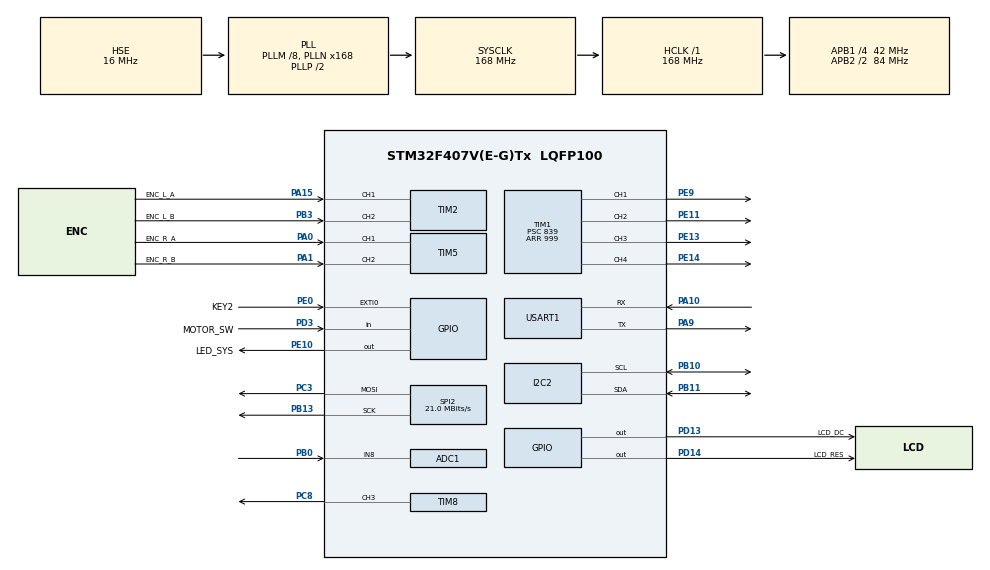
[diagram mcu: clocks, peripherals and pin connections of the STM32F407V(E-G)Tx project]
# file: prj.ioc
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ADC1.Channel-0\#ChannelRegularConversion=ADC_CHANNEL_8
ADC1.Channel-1\#ChannelRegularConversion=ADC_CHANNEL_VREFINT
ADC1.Channel-2\#ChannelRegularConversion=ADC_CHANNEL_TEMPSENSOR
ADC1.ContinuousConvMode=ENABLE
ADC1.DMAContinuousRequests=ENABLE
ADC1.NbrOfConversion=3
ADC1.NbrOfConversionFlag=1
ADC1.Rank-0\#ChannelRegularConversion=1
ADC1.Rank-1\#ChannelRegularConversion=2
ADC1.Rank-2\#ChannelRegularConversion=3
ADC1.SamplingTime-0\#ChannelRegularConversion=ADC_SAMPLETIME_480CYCLES
ADC1.SamplingTime-1\#ChannelRegularConversion=ADC_SAMPLETIME_480CYCLES
ADC1.SamplingTime-2\#ChannelRegularConversion=ADC_SAMPLETIME_480CYCLES
ADC1.ScanConvMode=ENABLE
ADC1.master=1
Dma.ADC1.0.Direction=DMA_PERIPH_TO_MEMORY
Dma.ADC1.0.FIFOMode=DMA_FIFOMODE_DISABLE
Dma.ADC1.0.Instance=DMA2_Stream0
Dma.ADC1.0.MemDataAlignment=DMA_MDATAALIGN_HALFWORD
Dma.ADC1.0.MemInc=DMA_MINC_ENABLE
Dma.ADC1.0.Mode=DMA_CIRCULAR
Dma.ADC1.0.PeriphDataAlignment=DMA_PDATAALIGN_HALFWORD
Dma.ADC1.0.PeriphInc=DMA_PINC_DISABLE
Dma.ADC1.0.Priority=DMA_PRIORITY_LOW
Dma.Request0=ADC1
I2C2.I2C_Mode=I2C_Fast
Mcu.Family=STM32F4
Mcu.Name=STM32F407V(E-G)Tx
Mcu.Package=LQFP100
NVIC.DMA2_Stream0_IRQn=true\:0\:0\:false\:false\:true\:false\:true\:true
NVIC.EXTI0_IRQn=true\:5\:0\:true\:false\:true\:true\:true\:true
NVIC.PriorityGroup=NVIC_PRIORITYGROUP_4
NVIC.SPI2_IRQn=true\:0\:0\:true\:false\:true\:true\:true\:true
NVIC.TIM7_IRQn=true\:5\:0\:true\:false\:true\:true\:true\:true
PA0-WKUP.GPIO_Label=ENC_R_A
PA0-WKUP.GPIO_PuPd=GPIO_PULLUP
PA0-WKUP.GPIO_Speed=GPIO_SPEED_FREQ_HIGH
PA0-WKUP.Signal=S_TIM5_CH1
PA1.GPIO_Label=ENC_R_B
PA1.GPIO_PuPd=GPIO_PULLUP
PA1.GPIO_Speed=GPIO_SPEED_FREQ_HIGH
PA1.Signal=S_TIM5_CH2
PA10.Mode=Asynchronous
PA10.Signal=USART1_RX
PA13.Mode=Serial_Wire
PA13.Signal=SYS_JTMS-SWDIO
PA14.Mode=Serial_Wire
PA14.Signal=SYS_JTCK-SWCLK
PA15.GPIO_Label=ENC_L_A 
PA15.GPIO_PuPd=GPIO_PULLUP
PA15.GPIO_Speed=GPIO_SPEED_FREQ_HIGH
PA15.Signal=S_TIM2_CH1_ETR
PA9.Mode=Asynchronous
PA9.Signal=USART1_TX
PB0.Signal=ADCx_IN8
PB10.GPIO_Pu=GPIO_PULLUP
PB10.Mode=I2C
PB10.Signal=I2C2_SCL
PB11.GPIO_Pu=GPIO_PULLUP
PB11.Mode=I2C
PB11.Signal=I2C2_SDA
PB13.Mode=TX_Only_Simplex_Unidirect_Master
PB13.Signal=SPI2_SCK
PB3.GPIO_Label=ENC_L_B
PB3.GPIO_PuPd=GPIO_PULLUP
PB3.GPIO_Speed=GPIO_SPEED_FREQ_HIGH
PB3.Signal=S_TIM2_CH2
PC3.Mode=TX_Only_Simplex_Unidirect_Master
PC3.Signal=SPI2_MOSI
PC8.Signal=S_TIM8_CH3
PD13.GPIO_Label=LCD_DC     
PD13.GPIO_Speed=GPIO_SPEED_FREQ_HIGH
PD13.Signal=GPIO_Output
PD14.GPIO_Label=LCD_RES
PD14.GPIO_Speed=GPIO_SPEED_FREQ_HIGH
PD14.Signal=GPIO_Output
PD3.GPIO_Label=MOTOR_SW
PD3.GPIO_PuPd=GPIO_PULLUP
PD3.Signal=GPIO_Input
PE0.GPIO_Label=KEY2
PE0.GPIO_ModeDefaultEXTI=GPIO_MODE_IT_FALLING
PE0.GPIO_PuPd=GPIO_PULLUP
PE0.Signal=GPXTI0
PE10.GPIO_Label=LED_SYS
PE10.GPIO_PuPd=GPIO_PULLUP
PE10.PinState=GPIO_PIN_SET
PE10.Signal=GPIO_Output
PE11.Signal=S_TIM1_CH2
PE13.Signal=S_TIM1_CH3
PE14.Signal=S_TIM1_CH4
PE9.Signal=S_TIM1_CH1
PH0-OSC_IN.Mode=HSE-External-Oscillator
PH0-OSC_IN.Signal=RCC_OSC_IN
PH1-OSC_OUT.Mode=HSE-External-Oscillator
PH1-OSC_OUT.Signal=RCC_OSC_OUT
ProjectManager.HeapSize=0x200
ProjectManager.StackSize=0x400
ProjectManager.TargetToolchain=CMake
RCC.48MHZClocksFreq_Value=84000000
RCC.AHBFreq_Value=168000000
RCC.APB1CLKDivider=RCC_HCLK_DIV4
RCC.APB1Freq_Value=42000000
RCC.APB1TimFreq_Value=84000000
RCC.APB2CLKDivider=RCC_HCLK_DIV2
RCC.APB2Freq_Value=84000000
RCC.APB2TimFreq_Value=168000000
RCC.CortexFreq_Value=168000000
RCC.HCLKFreq_Value=168000000
RCC.HSE_VALUE=16000000
RCC.HSI_VALUE=16000000
RCC.LSE_VALUE=32768
RCC.PLLM=8
RCC.PLLN=168
RCC.PLLSourceVirtual=RCC_PLLSOURCE_HSE
RCC.SYSCLKFreq_VALUE=168000000
RCC.SYSCLKSource=RCC_SYSCLKSOURCE_PLLCLK
RCC.VCOOutputFreq_Value=336000000
SH.ADCx_IN8.0=ADC1_IN8,IN8
SH.S_TIM1_CH1.0=TIM1_CH1,PWM Generation1 CH1
SH.S_TIM1_CH2.0=TIM1_CH2,PWM Generation2 CH2
SH.S_TIM1_CH3.0=TIM1_CH3,PWM Generation3 CH3
SH.S_TIM1_CH4.0=TIM1_CH4,PWM Generation4 CH4
SH.S_TIM2_CH1_ETR.0=TIM2_CH1,Encoder_Interface
SH.S_TIM2_CH2.0=TIM2_CH2,Encoder_Interface
SH.S_TIM5_CH1.0=TIM5_CH1,Encoder_Interface
SH.S_TIM5_CH2.0=TIM5_CH2,Encoder_Interface
SH.S_TIM8_CH3.0=TIM8_CH3,PWM Generation3 CH3
SPI2.CalculateBaudRate=21.0 MBits/s
SPI2.Direction=SPI_DIRECTION_2LINES
SPI2.Mode=SPI_MODE_MASTER
SPI2.VirtualType=VM_MASTER
TIM1.AutoReloadPreload=TIM_AUTORELOAD_PRELOAD_ENABLE
TIM1.Channel-PWM\ Generation1\ CH1=TIM_CHANNEL_1
TIM1.Channel-PWM\ Generation2\ CH2=TIM_CHANNEL_2
TIM1.Channel-PWM\ Generation3\ CH3=TIM_CHANNEL_3
TIM1.Channel-PWM\ Generation4\ CH4=TIM_CHANNEL_4
TIM1.Period=999
TIM1.Prescaler=839
TIM2.EncoderMode=TIM_ENCODERMODE_TI12
TIM5.AutoReloadPreload=TIM_AUTORELOAD_PRELOAD_ENABLE
TIM5.EncoderMode=TIM_ENCODERMODE_TI12
TIM7.AutoReloadPreload=TIM_AUTORELOAD_PRELOAD_ENABLE
TIM7.Period=9999
TIM7.Prescaler=83
TIM8.AutoReloadPreload=TIM_AUTORELOAD_PRELOAD_ENABLE
TIM8.Channel-PWM\ Generation3\ CH3=TIM_CHANNEL_3
TIM8.Period=19999
TIM8.Prescaler=167
TIM8.Pulse-PWM\ Generation3\ CH3=1500
USART1.VirtualMode=VM_ASYNC
VP_ADC1_TempSens_Input.Mode=IN-TempSens
VP_ADC1_Vref_Input.Mode=IN-Vrefint
VP_TIM1_VS_ClockSourceINT.Mode=Internal
VP_TIM7_VS_ClockSourceINT.Mode=Enable_Timer
VP_TIM8_VS_ClockSourceINT.Mode=Internal
board=custom

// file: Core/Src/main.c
/* USER CODE BEGIN Header */
/**
  ******************************************************************************
  * @file           : main.c
  * @brief          : Main program body
  ******************************************************************************
  * @attention
  *
  * Copyright (c) 2026 STMicroelectronics.
  * All rights reserved.
  *
  * This software is licensed under terms that can be found in the LICENSE file
  * in the root directory of this software component.
  * If no LICENSE file comes with this software, it is provided AS-IS.
  *
  ******************************************************************************
  */
/* USER CODE END Header */
#include "main.h"

/* USER CODE BEGIN Includes */
#include <stdio.h>
#include "gpio.h"
#include "key.h"
#include "servo.h"
#include "motor.h"
#include "encoder.h"
#include "speed_loop.h"
#include "voltage.h"
#include "imu.h"
#include "oled.h"
/* USER CODE END Includes */

ADC_HandleTypeDef hadc1;
DMA_HandleTypeDef hdma_adc1;

I2C_HandleTypeDef hi2c2;

SPI_HandleTypeDef hspi2;

TIM_HandleTypeDef htim1;
TIM_HandleTypeDef htim2;
TIM_HandleTypeDef htim5;
TIM_HandleTypeDef htim7;
TIM_HandleTypeDef htim8;

UART_HandleTypeDef huart1;

void SystemClock_Config(void);
static void MX_GPIO_Init(void);
static void MX_DMA_Init(void);
static void MX_USART1_UART_Init(void);
static void MX_TIM8_Init(void);
static void MX_TIM1_Init(void);
static void MX_TIM2_Init(void);
static void MX_TIM5_Init(void);
static void MX_TIM7_Init(void);
static void MX_ADC1_Init(void);
static void MX_I2C2_Init(void);
static void MX_SPI2_Init(void);

/* USER CODE BEGIN 0 */
/* printf 重定向到 USART1（115200，PA9/PA10）。
 * GCC/newlib 走 __io_putchar；syscalls.c 的 _write() 会逐字节调用它。
 * 注意：不要放在中断里调用，HAL_UART_Transmit 是阻塞发送。 */
#ifdef __GNUC__
int __io_putchar(int ch)
#else
int fputc(int ch, FILE *f)
#endif
{
  uint8_t c = (uint8_t)ch;
  HAL_UART_Transmit(&huart1, &c, 1, 10);
  return ch;
}
/* USER CODE END 0 */

int main(void)
{

  /* MCU Configuration--------------------------------------------------------*/

  /* Reset of all peripherals, Initializes the Flash interface and the Systick. */
  HAL_Init();

  /* Configure the system clock */
  SystemClock_Config();

  /* Initialize all configured peripherals */
  MX_GPIO_Init();
  MX_DMA_Init();
  MX_USART1_UART_Init();
  MX_TIM8_Init();
  MX_TIM1_Init();
  MX_TIM2_Init();
  MX_TIM5_Init();
  MX_TIM7_Init();
  MX_ADC1_Init();
  MX_I2C2_Init();
  MX_SPI2_Init();
  /* USER CODE BEGIN 2 */
  Key_Init();
  Servo_Init();                     /* TIM8_CH3 / PC8，上电回中位 1500 µs */
  Motor_Init();                     /* TIM1 CH1~CH4，上电确保电机停转 */
  Encoder_Init();                   /* TIM2/TIM5 编码器接口，清零计数 */
  SpeedLoop_Init();                 /* 双轮 PID + 启动 TIM7 10 ms 中断 */
  Voltage_Init();                   /* ADC1 三通道：PB0 / VREFINT / 温度，启动 DMA */
  OLED_Init();                      /* U8g2 / SSD1306 128x64，SPI2（8 孔 DISPLAY 座）*/

  /* QMI8658：上电保持静止约 0.6 s 做陀螺零偏 */
  uint8_t imu_ok = IMU_Init();
  if (imu_ok == 0) {
      IMU_CalibrateGyro(1000);      /* 约 2 s，带静止检测 */
  }

  printf("\r\n=== TARS-Robot MCU boot ===\r\n");
  printf("SYSCLK = %lu Hz\r\n", (unsigned long)SystemCoreClock);
  printf("printf redirect to USART1 @115200 OK\r\n");
  printf("KEY1: click / long press\r\n");
  printf("servo init: %u us (50 Hz, 1 us/count)\r\n", Servo_GetPulseUs());
  printf("motor init: L=%d R=%d\r\n",
         Motor_GetPulse(MOTOR_LEFT), Motor_GetPulse(MOTOR_RIGHT));
  printf("motor switch = %u (PD3, active level %d)\r\n",
         Motor_IsSwitchOn(), (int)MOTOR_SW_ON_LEVEL);
  printf("encoder init: L raw=%lu R raw=%lu\r\n",
         (unsigned long)Encoder_GetRaw(ENC_LEFT),
         (unsigned long)Encoder_GetRaw(ENC_RIGHT));
  printf("IMU: %s (ID=0x%02X)\r\n",
         (imu_ok == 0) ? "OK" :
         (imu_ok == 1) ? "NOT FOUND" :
         (imu_ok == 2) ? "WHO_AM_I BAD" : "CTRL WRITE FAIL",
         IMU_GetWhoAmI());
  /* USER CODE END 2 */

  /* Infinite loop */
  while (1)
  {

    /* USER CODE BEGIN 3 */
    uint32_t now = HAL_GetTick();

    /* 按键：单击切换“停/前进”，长按急停 */
    static uint32_t t_key = 0;
    static float    target_mps = 0.0f;
    if (now - t_key >= 10U) {
        t_key = now;
        Key_Task();

        switch (Key_GetEvent()) {
        case KEY_EVENT_CLICK:
            target_mps = (target_mps > 0.0f) ? 0.0f : 0.15f;
            SpeedLoop_SetTargetMps(target_mps, target_mps);
            printf("target = %.2f m/s\r\n", target_mps);
            break;

        case KEY_EVENT_LONG_PRESS:
            target_mps = 0.0f;
            SpeedLoop_Stop();
            printf("EMERGENCY STOP\r\n");
            break;

        default:
            break;
        }
    }

    /* IMU：10 ms 更新一次（Fusion AHRS，I2C2） */
    static uint32_t t_imu = 0;
    if (now - t_imu >= 10U) {
        t_imu = now;
        IMU_Update(0.01f);
    }

    /* 电压：100 ms 采样一次；严重低压立即停车 */
    static uint32_t t_vbat = 0;
    if (now - t_vbat >= 100U) {
        t_vbat = now;
        Voltage_Task();
        if (Voltage_IsCritical()) {
            SpeedLoop_Stop();
        }
    }

    /* 心跳：本地演示保活。
     * SpeedLoop 有“300 ms 无心跳自动停车”保护，本地没有上位机，
     * 所以这里每 100 ms 喂一次。第 9 章接协议后改由协议层喂。 */
    static uint32_t t_hb = 0;
    if (now - t_hb >= 100U) {
        t_hb = now;
        SpeedLoop_Heartbeat();
    }

    /* 500 ms 打印实际速度。
     * 注意：这里绝不能调用 Encoder_ReadDelta —— 它会把 TIM7 中断里的
     * 增量“偷走”，导致速度环反馈丢失。要用 SpeedLoop 保存好的值。 */
    static uint32_t t_log = 0;
    if (now - t_log >= 500U) {
        t_log = now;
        float vl = 0.0f, vr = 0.0f;
        SpeedLoop_GetActualMps(&vl, &vr);
        float ax, ay, az;
        IMU_GetAcc(&ax, &ay, &az);
        printf("IMU a=%.2f/%.2f/%.2f r=%6.1f p=%6.1f y=%6.1f | BAT %.2fV err=%lu\r\n",
               ax, ay, az,
               IMU_GetRoll(), IMU_GetPitch(), IMU_GetYaw(),
               Voltage_Get(), (unsigned long)IMU_GetErrorCount());
    }

    /* OLED 仪表盘：200 ms 刷新，不进 10 ms 控制环 */
    static uint32_t t_oled = 0;
    if (now - t_oled >= 200U) {
        t_oled = now;
        OLED_Dashboard();
    }
  }
  /* USER CODE END 3 */
}

void SystemClock_Config(void)
{
  RCC_OscInitTypeDef RCC_OscInitStruct = {0};
  RCC_ClkInitTypeDef RCC_ClkInitStruct = {0};

  /** Configure the main internal regulator output voltage
  */
  __HAL_RCC_PWR_CLK_ENABLE();
  __HAL_PWR_VOLTAGESCALING_CONFIG(PWR_REGULATOR_VOLTAGE_SCALE1);

  /** Initializes the RCC Oscillators according to the specified parameters
  * in the RCC_OscInitTypeDef structure.
  */
  RCC_OscInitStruct.OscillatorType = RCC_OSCILLATORTYPE_HSE;
  RCC_OscInitStruct.HSEState = RCC_HSE_ON;
  RCC_OscInitStruct.PLL.PLLState = RCC_PLL_ON;
  RCC_OscInitStruct.PLL.PLLSource = RCC_PLLSOURCE_HSE;
  RCC_OscInitStruct.PLL.PLLM = 8;
  RCC_OscInitStruct.PLL.PLLN = 168;
  RCC_OscInitStruct.PLL.PLLP = RCC_PLLP_DIV2;
  RCC_OscInitStruct.PLL.PLLQ = 4;
  if (HAL_RCC_OscConfig(&RCC_OscInitStruct) != HAL_OK)
  {
    Error_Handler();
  }

  /** Initializes the CPU, AHB and APB buses clocks
  */
  RCC_ClkInitStruct.ClockType = RCC_CLOCKTYPE_HCLK|RCC_CLOCKTYPE_SYSCLK
                              |RCC_CLOCKTYPE_PCLK1|RCC_CLOCKTYPE_PCLK2;
  RCC_ClkInitStruct.SYSCLKSource = RCC_SYSCLKSOURCE_PLLCLK;
  RCC_ClkInitStruct.AHBCLKDivider = RCC_SYSCLK_DIV1;
  RCC_ClkInitStruct.APB1CLKDivider = RCC_HCLK_DIV4;
  RCC_ClkInitStruct.APB2CLKDivider = RCC_HCLK_DIV2;

  if (HAL_RCC_ClockConfig(&RCC_ClkInitStruct, FLASH_LATENCY_5) != HAL_OK)
  {
    Error_Handler();
  }
}

static void MX_ADC1_Init(void)
{

  ADC_ChannelConfTypeDef sConfig = {0};

  /** Configure the global features of the ADC (Clock, Resolution, Data Alignment and number of conversion)
  */
  hadc1.Instance = ADC1;
  hadc1.Init.ClockPrescaler = ADC_CLOCK_SYNC_PCLK_DIV4;
  hadc1.Init.Resolution = ADC_RESOLUTION_12B;
  hadc1.Init.ScanConvMode = ENABLE;
  hadc1.Init.ContinuousConvMode = ENABLE;
  hadc1.Init.DiscontinuousConvMode = DISABLE;
  hadc1.Init.ExternalTrigConvEdge = ADC_EXTERNALTRIGCONVEDGE_NONE;
  hadc1.Init.ExternalTrigConv = ADC_SOFTWARE_START;
  hadc1.Init.DataAlign = ADC_DATAALIGN_RIGHT;
  hadc1.Init.NbrOfConversion = 3;
  hadc1.Init.DMAContinuousRequests = ENABLE;
  hadc1.Init.EOCSelection = ADC_EOC_SINGLE_CONV;
  if (HAL_ADC_Init(&hadc1) != HAL_OK)
  {
    Error_Handler();
  }

  /** Configure for the selected ADC regular channel its corresponding rank in the sequencer and its sample time.
  */
  sConfig.Channel = ADC_CHANNEL_8;
  sConfig.Rank = 1;
  sConfig.SamplingTime = ADC_SAMPLETIME_480CYCLES;
  if (HAL_ADC_ConfigChannel(&hadc1, &sConfig) != HAL_OK)
  {
    Error_Handler();
  }

  /** Configure for the selected ADC regular channel its corresponding rank in the sequencer and its sample time.
  */
  sConfig.Channel = ADC_CHANNEL_VREFINT;
  sConfig.Rank = 2;
  if (HAL_ADC_ConfigChannel(&hadc1, &sConfig) != HAL_OK)
  {
    Error_Handler();
  }

  /** Configure for the selected ADC regular channel its corresponding rank in the sequencer and its sample time.
  */
  sConfig.Channel = ADC_CHANNEL_TEMPSENSOR;
  sConfig.Rank = 3;
  if (HAL_ADC_ConfigChannel(&hadc1, &sConfig) != HAL_OK)
  {
    Error_Handler();
  }

}

static void MX_I2C2_Init(void)
{

  hi2c2.Instance = I2C2;
  hi2c2.Init.ClockSpeed = 400000;
  hi2c2.Init.DutyCycle = I2C_DUTYCYCLE_2;
  hi2c2.Init.OwnAddress1 = 0;
  hi2c2.Init.AddressingMode = I2C_ADDRESSINGMODE_7BIT;
  hi2c2.Init.DualAddressMode = I2C_DUALADDRESS_DISABLE;
  hi2c2.Init.OwnAddress2 = 0;
  hi2c2.Init.GeneralCallMode = I2C_GENERALCALL_DISABLE;
  hi2c2.Init.NoStretchMode = I2C_NOSTRETCH_DISABLE;
  if (HAL_I2C_Init(&hi2c2) != HAL_OK)
  {
    Error_Handler();
  }

}

static void MX_SPI2_Init(void)
{

  /* SPI2 parameter configuration*/
  hspi2.Instance = SPI2;
  hspi2.Init.Mode = SPI_MODE_MASTER;
  hspi2.Init.Direction = SPI_DIRECTION_2LINES;
  hspi2.Init.DataSize = SPI_DATASIZE_8BIT;
  hspi2.Init.CLKPolarity = SPI_POLARITY_LOW;
  hspi2.Init.CLKPhase = SPI_PHASE_1EDGE;
  hspi2.Init.NSS = SPI_NSS_SOFT;
  hspi2.Init.BaudRatePrescaler = SPI_BAUDRATEPRESCALER_2;
  hspi2.Init.FirstBit = SPI_FIRSTBIT_MSB;
  hspi2.Init.TIMode = SPI_TIMODE_DISABLE;
  hspi2.Init.CRCCalculation = SPI_CRCCALCULATION_DISABLE;
  hspi2.Init.CRCPolynomial = 10;
  if (HAL_SPI_Init(&hspi2) != HAL_OK)
  {
    Error_Handler();
  }

}

static void MX_TIM1_Init(void)
{

  TIM_ClockConfigTypeDef sClockSourceConfig = {0};
  TIM_MasterConfigTypeDef sMasterConfig = {0};
  TIM_OC_InitTypeDef sConfigOC = {0};
  TIM_BreakDeadTimeConfigTypeDef sBreakDeadTimeConfig = {0};

  htim1.Instance = TIM1;
  htim1.Init.Prescaler = 839;
  htim1.Init.CounterMode = TIM_COUNTERMODE_UP;
  htim1.Init.Period = 999;
  htim1.Init.ClockDivision = TIM_CLOCKDIVISION_DIV1;
  htim1.Init.RepetitionCounter = 0;
  htim1.Init.AutoReloadPreload = TIM_AUTORELOAD_PRELOAD_ENABLE;
  if (HAL_TIM_Base_Init(&htim1) != HAL_OK)
  {
    Error_Handler();
  }
  sClockSourceConfig.ClockSource = TIM_CLOCKSOURCE_INTERNAL;
  if (HAL_TIM_ConfigClockSource(&htim1, &sClockSourceConfig) != HAL_OK)
  {
    Error_Handler();
  }
  if (HAL_TIM_PWM_Init(&htim1) != HAL_OK)
  {
    Error_Handler();
  }
  sMasterConfig.MasterOutputTrigger = TIM_TRGO_RESET;
  sMasterConfig.MasterSlaveMode = TIM_MASTERSLAVEMODE_DISABLE;
  if (HAL_TIMEx_MasterConfigSynchronization(&htim1, &sMasterConfig) != HAL_OK)
  {
    Error_Handler();
  }
  sConfigOC.OCMode = TIM_OCMODE_PWM1;
  sConfigOC.Pulse = 0;
  sConfigOC.OCPolarity = TIM_OCPOLARITY_HIGH;
  sConfigOC.OCNPolarity = TIM_OCNPOLARITY_HIGH;
  sConfigOC.OCFastMode = TIM_OCFAST_DISABLE;
  sConfigOC.OCIdleState = TIM_OCIDLESTATE_RESET;
  sConfigOC.OCNIdleState = TIM_OCNIDLESTATE_RESET;
  if (HAL_TIM_PWM_ConfigChannel(&htim1, &sConfigOC, TIM_CHANNEL_1) != HAL_OK)
  {
    Error_Handler();
  }
  if (HAL_TIM_PWM_ConfigChannel(&htim1, &sConfigOC, TIM_CHANNEL_2) != HAL_OK)
  {
    Error_Handler();
  }
  if (HAL_TIM_PWM_ConfigChannel(&htim1, &sConfigOC, TIM_CHANNEL_3) != HAL_OK)
  {
    Error_Handler();
  }
  if (HAL_TIM_PWM_ConfigChannel(&htim1, &sConfigOC, TIM_CHANNEL_4) != HAL_OK)
  {
    Error_Handler();
  }
  sBreakDeadTimeConfig.OffStateRunMode = TIM_OSSR_DISABLE;
  sBreakDeadTimeConfig.OffStateIDLEMode = TIM_OSSI_DISABLE;
  sBreakDeadTimeConfig.LockLevel = TIM_LOCKLEVEL_OFF;
  sBreakDeadTimeConfig.DeadTime = 0;
  sBreakDeadTimeConfig.BreakState = TIM_BREAK_DISABLE;
  sBreakDeadTimeConfig.BreakPolarity = TIM_BREAKPOLARITY_HIGH;
  sBreakDeadTimeConfig.AutomaticOutput = TIM_AUTOMATICOUTPUT_DISABLE;
  if (HAL_TIMEx_ConfigBreakDeadTime(&htim1, &sBreakDeadTimeConfig) != HAL_OK)
  {
    Error_Handler();
  }
  HAL_TIM_MspPostInit(&htim1);

}

static void MX_TIM2_Init(void)
{

  TIM_Encoder_InitTypeDef sConfig = {0};
  TIM_MasterConfigTypeDef sMasterConfig = {0};

  htim2.Instance = TIM2;
  htim2.Init.Prescaler = 0;
  htim2.Init.CounterMode = TIM_COUNTERMODE_UP;
  htim2.Init.Period = 4294967295;
  htim2.Init.ClockDivision = TIM_CLOCKDIVISION_DIV1;
  htim2.Init.AutoReloadPreload = TIM_AUTORELOAD_PRELOAD_DISABLE;
  sConfig.EncoderMode = TIM_ENCODERMODE_TI12;
  sConfig.IC1Polarity = TIM_ICPOLARITY_RISING;
  sConfig.IC1Selection = TIM_ICSELECTION_DIRECTTI;
  sConfig.IC1Prescaler = TIM_ICPSC_DIV1;
  sConfig.IC1Filter = 0;
  sConfig.IC2Polarity = TIM_ICPOLARITY_RISING;
  sConfig.IC2Selection = TIM_ICSELECTION_DIRECTTI;
  sConfig.IC2Prescaler = TIM_ICPSC_DIV1;
  sConfig.IC2Filter = 0;
  if (HAL_TIM_Encoder_Init(&htim2, &sConfig) != HAL_OK)
  {
    Error_Handler();
  }
  sMasterConfig.MasterOutputTrigger = TIM_TRGO_RESET;
  sMasterConfig.MasterSlaveMode = TIM_MASTERSLAVEMODE_DISABLE;
  if (HAL_TIMEx_MasterConfigSynchronization(&htim2, &sMasterConfig) != HAL_OK)
  {
    Error_Handler();
  }

}

static void MX_TIM5_Init(void)
{

  TIM_Encoder_InitTypeDef sConfig = {0};
  TIM_MasterConfigTypeDef sMasterConfig = {0};

  htim5.Instance = TIM5;
  htim5.Init.Prescaler = 0;
  htim5.Init.CounterMode = TIM_COUNTERMODE_UP;
  htim5.Init.Period = 4294967295;
  htim5.Init.ClockDivision = TIM_CLOCKDIVISION_DIV1;
  htim5.Init.AutoReloadPreload = TIM_AUTORELOAD_PRELOAD_ENABLE;
  sConfig.EncoderMode = TIM_ENCODERMODE_TI12;
  sConfig.IC1Polarity = TIM_ICPOLARITY_RISING;
  sConfig.IC1Selection = TIM_ICSELECTION_DIRECTTI;
  sConfig.IC1Prescaler = TIM_ICPSC_DIV1;
  sConfig.IC1Filter = 0;
  sConfig.IC2Polarity = TIM_ICPOLARITY_RISING;
  sConfig.IC2Selection = TIM_ICSELECTION_DIRECTTI;
  sConfig.IC2Prescaler = TIM_ICPSC_DIV1;
  sConfig.IC2Filter = 0;
  if (HAL_TIM_Encoder_Init(&htim5, &sConfig) != HAL_OK)
  {
    Error_Handler();
  }
  sMasterConfig.MasterOutputTrigger = TIM_TRGO_RESET;
  sMasterConfig.MasterSlaveMode = TIM_MASTERSLAVEMODE_DISABLE;
  if (HAL_TIMEx_MasterConfigSynchronization(&htim5, &sMasterConfig) != HAL_OK)
  {
    Error_Handler();
  }

}

static void MX_TIM7_Init(void)
{

  TIM_MasterConfigTypeDef sMasterConfig = {0};

  htim7.Instance = TIM7;
  htim7.Init.Prescaler = 83;
  htim7.Init.CounterMode = TIM_COUNTERMODE_UP;
  htim7.Init.Period = 9999;
  htim7.Init.AutoReloadPreload = TIM_AUTORELOAD_PRELOAD_ENABLE;
  if (HAL_TIM_Base_Init(&htim7) != HAL_OK)
  {
    Error_Handler();
  }
  sMasterConfig.MasterOutputTrigger = TIM_TRGO_RESET;
  sMasterConfig.MasterSlaveMode = TIM_MASTERSLAVEMODE_DISABLE;
  if (HAL_TIMEx_MasterConfigSynchronization(&htim7, &sMasterConfig) != HAL_OK)
  {
    Error_Handler();
  }

}

static void MX_TIM8_Init(void)
{

  TIM_ClockConfigTypeDef sClockSourceConfig = {0};
  TIM_MasterConfigTypeDef sMasterConfig = {0};
  TIM_OC_InitTypeDef sConfigOC = {0};
  TIM_BreakDeadTimeConfigTypeDef sBreakDeadTimeConfig = {0};

  htim8.Instance = TIM8;
  htim8.Init.Prescaler = 167;
  htim8.Init.CounterMode = TIM_COUNTERMODE_UP;
  htim8.Init.Period = 19999;
  htim8.Init.ClockDivision = TIM_CLOCKDIVISION_DIV1;
  htim8.Init.RepetitionCounter = 0;
  htim8.Init.AutoReloadPreload = TIM_AUTORELOAD_PRELOAD_ENABLE;
  if (HAL_TIM_Base_Init(&htim8) != HAL_OK)
  {
    Error_Handler();
  }
  sClockSourceConfig.ClockSource = TIM_CLOCKSOURCE_INTERNAL;
  if (HAL_TIM_ConfigClockSource(&htim8, &sClockSourceConfig) != HAL_OK)
  {
    Error_Handler();
  }
  if (HAL_TIM_PWM_Init(&htim8) != HAL_OK)
  {
    Error_Handler();
  }
  sMasterConfig.MasterOutputTrigger = TIM_TRGO_RESET;
  sMasterConfig.MasterSlaveMode = TIM_MASTERSLAVEMODE_DISABLE;
  if (HAL_TIMEx_MasterConfigSynchronization(&htim8, &sMasterConfig) != HAL_OK)
  {
    Error_Handler();
  }
  sConfigOC.OCMode = TIM_OCMODE_PWM1;
  sConfigOC.Pulse = 1500;
  sConfigOC.OCPolarity = TIM_OCPOLARITY_HIGH;
  sConfigOC.OCNPolarity = TIM_OCNPOLARITY_HIGH;
  sConfigOC.OCFastMode = TIM_OCFAST_DISABLE;
  sConfigOC.OCIdleState = TIM_OCIDLESTATE_RESET;
  sConfigOC.OCNIdleState = TIM_OCNIDLESTATE_RESET;
  if (HAL_TIM_PWM_ConfigChannel(&htim8, &sConfigOC, TIM_CHANNEL_3) != HAL_OK)
  {
    Error_Handler();
  }
  sBreakDeadTimeConfig.OffStateRunMode = TIM_OSSR_DISABLE;
  sBreakDeadTimeConfig.OffStateIDLEMode = TIM_OSSI_DISABLE;
  sBreakDeadTimeConfig.LockLevel = TIM_LOCKLEVEL_OFF;
  sBreakDeadTimeConfig.DeadTime = 0;
  sBreakDeadTimeConfig.BreakState = TIM_BREAK_DISABLE;
  sBreakDeadTimeConfig.BreakPolarity = TIM_BREAKPOLARITY_HIGH;
  sBreakDeadTimeConfig.AutomaticOutput = TIM_AUTOMATICOUTPUT_DISABLE;
  if (HAL_TIMEx_ConfigBreakDeadTime(&htim8, &sBreakDeadTimeConfig) != HAL_OK)
  {
    Error_Handler();
  }
  HAL_TIM_MspPostInit(&htim8);

}

static void MX_USART1_UART_Init(void)
{

  huart1.Instance = USART1;
  huart1.Init.BaudRate = 115200;
  huart1.Init.WordLength = UART_WORDLENGTH_8B;
  huart1.Init.StopBits = UART_STOPBITS_1;
  huart1.Init.Parity = UART_PARITY_NONE;
  huart1.Init.Mode = UART_MODE_TX_RX;
  huart1.Init.HwFlowCtl = UART_HWCONTROL_NONE;
  huart1.Init.OverSampling = UART_OVERSAMPLING_16;
  if (HAL_UART_Init(&huart1) != HAL_OK)
  {
    Error_Handler();
  }

}

static void MX_DMA_Init(void)
{

  /* DMA controller clock enable */
  __HAL_RCC_DMA2_CLK_ENABLE();

  /* DMA interrupt init */
  /* DMA2_Stream0_IRQn interrupt configuration */
  HAL_NVIC_SetPriority(DMA2_Stream0_IRQn, 0, 0);
  HAL_NVIC_EnableIRQ(DMA2_Stream0_IRQn);

}

static void MX_GPIO_Init(void)
{
  GPIO_InitTypeDef GPIO_InitStruct = {0};

  /* GPIO Ports Clock Enable */
  __HAL_RCC_GPIOH_CLK_ENABLE();
  __HAL_RCC_GPIOC_CLK_ENABLE();
  __HAL_RCC_GPIOA_CLK_ENABLE();
  __HAL_RCC_GPIOB_CLK_ENABLE();
  __HAL_RCC_GPIOE_CLK_ENABLE();
  __HAL_RCC_GPIOD_CLK_ENABLE();

  /*Configure GPIO pin Output Level */
  HAL_GPIO_WritePin(LED_SYS_GPIO_Port, LED_SYS_Pin, GPIO_PIN_SET);

  /*Configure GPIO pin Output Level */
  HAL_GPIO_WritePin(GPIOD, LCD_DC_Pin|LCD_RES_Pin, GPIO_PIN_RESET);

  /*Configure GPIO pin : LED_SYS_Pin */
  GPIO_InitStruct.Pin = LED_SYS_Pin;
  GPIO_InitStruct.Mode = GPIO_MODE_OUTPUT_PP;
  GPIO_InitStruct.Pull = GPIO_PULLUP;
  GPIO_InitStruct.Speed = GPIO_SPEED_FREQ_LOW;
  HAL_GPIO_Init(LED_SYS_GPIO_Port, &GPIO_InitStruct);

  /*Configure GPIO pins : LCD_DC_Pin LCD_RES_Pin */
  GPIO_InitStruct.Pin = LCD_DC_Pin|LCD_RES_Pin;
  GPIO_InitStruct.Mode = GPIO_MODE_OUTPUT_PP;
  GPIO_InitStruct.Pull = GPIO_NOPULL;
  GPIO_InitStruct.Speed = GPIO_SPEED_FREQ_HIGH;
  HAL_GPIO_Init(GPIOD, &GPIO_InitStruct);

  /*Configure GPIO pin : MOTOR_SW_Pin */
  GPIO_InitStruct.Pin = MOTOR_SW_Pin;
  GPIO_InitStruct.Mode = GPIO_MODE_INPUT;
  GPIO_InitStruct.Pull = GPIO_PULLUP;
  HAL_GPIO_Init(MOTOR_SW_GPIO_Port, &GPIO_InitStruct);

  /*Configure GPIO pin : KEY2_Pin */
  GPIO_InitStruct.Pin = KEY2_Pin;
  GPIO_InitStruct.Mode = GPIO_MODE_IT_FALLING;
  GPIO_InitStruct.Pull = GPIO_PULLUP;
  HAL_GPIO_Init(KEY2_GPIO_Port, &GPIO_InitStruct);

  /* EXTI interrupt init*/
  HAL_NVIC_SetPriority(EXTI0_IRQn, 5, 0);
  HAL_NVIC_EnableIRQ(EXTI0_IRQn);

  /* USER CODE BEGIN MX_GPIO_Init_2 */

  /* OLED 控制脚：PD13=DC / PD14=RES（6 针屏无 CS，不用 PD12） */
  HAL_GPIO_WritePin(GPIOD, GPIO_PIN_13|GPIO_PIN_14, GPIO_PIN_SET);
  GPIO_InitStruct.Pin = GPIO_PIN_13|GPIO_PIN_14;
  GPIO_InitStruct.Mode = GPIO_MODE_OUTPUT_PP;
  GPIO_InitStruct.Pull = GPIO_NOPULL;
  GPIO_InitStruct.Speed = GPIO_SPEED_FREQ_VERY_HIGH;
  HAL_GPIO_Init(GPIOD, &GPIO_InitStruct);

  /* USER CODE END MX_GPIO_Init_2 */
}

void Error_Handler(void)
{
  __disable_irq();
  while (1)
  {
  }
}
